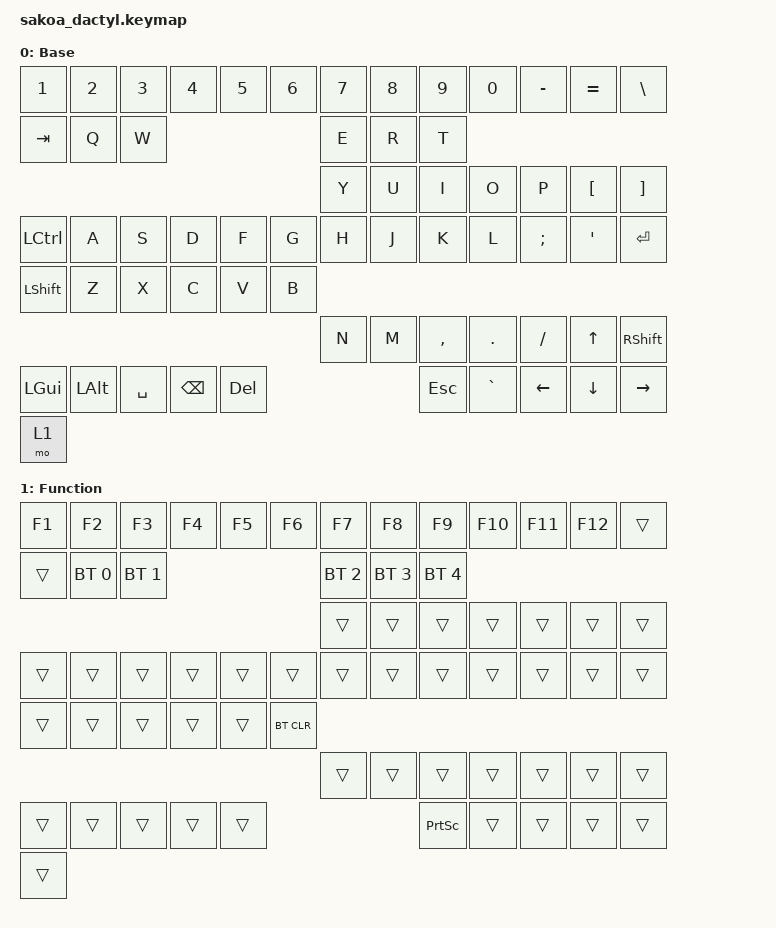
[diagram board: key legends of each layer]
#include <behaviors.dtsi>
#include <dt-bindings/zmk/bt.h>
#include <dt-bindings/zmk/keys.h>

/ {
    keymap {
        compatible = "zmk,keymap";

        base_layer {
            display-name = "Base";

            bindings = <
                /*  1     2     3     4     5     6        7     8     9     0     -       =       \| */
                &kp N1 &kp N2 &kp N3 &kp N4 &kp N5 &kp N6    &kp N7 &kp N8 &kp N9 &kp N0 &kp MINUS &kp EQUAL &kp BSLH

                /* Tab    Q     W     E     R     T          Y     U     I     O     P       [       ] */
                &kp TAB &kp Q  &kp W  &kp E  &kp R  &kp T     &kp Y  &kp U  &kp I  &kp O  &kp P    &kp LBKT &kp RBKT

                /* Ctrl   A     S     D     F     G          H     J     K     L     ;       '       Enter */
                &kp LCTRL &kp A &kp S &kp D &kp F &kp G      &kp H &kp J &kp K &kp L &kp SEMI &kp SQT &kp ENTER

                /* Shift  Z     X     C     V     B          N     M     ,       .       /       Up      Shift */
                &kp LSHFT &kp Z &kp X &kp C &kp V &kp B      &kp N &kp M &kp COMMA &kp DOT &kp FSLH &kp UP &kp RSHFT

                /* Left thumbs: Meta->Win, Alt, Super->Space.  Right thumb row. */
                &kp LGUI &kp LALT &kp SPACE                   &kp BSPC &kp DEL &kp ESC &kp GRAVE &kp LEFT &kp DOWN &kp RIGHT

                /* Right single-key row: momentary Function layer. */
                &mo 1
            >;
        };

        function_layer {
            display-name = "Function";

            bindings = <
                /* Func+1..0 -> F1..F10; Func+-/= -> F11/F12. */
                &kp F1 &kp F2 &kp F3 &kp F4 &kp F5 &kp F6    &kp F7 &kp F8 &kp F9 &kp F10 &kp F11 &kp F12 &trans

                /* Func+Q/W/E/R/T select Bluetooth host profiles 1..5. */
                &trans &bt BT_SEL 0 &bt BT_SEL 1 &bt BT_SEL 2 &bt BT_SEL 3 &bt BT_SEL 4
                                                               &trans &trans &trans &trans &trans &trans &trans

                /* R2: 13 transparent bindings. */
                &trans &trans &trans &trans &trans &trans    &trans &trans &trans &trans &trans &trans &trans

                /* Func+B clears the bond for the currently selected host profile. */
                &trans &trans &trans &trans &trans &bt BT_CLR
                                                               &trans &trans &trans &trans &trans &trans &trans

                /* Func+Esc -> Print Screen at Esc's new right-thumb position. */
                &trans &trans &trans                         &trans &trans &kp PSCRN &trans &trans &trans &trans

                /* The held bottom-right Func key remains transparent. */
                &trans
            >;
        };
    };
};
